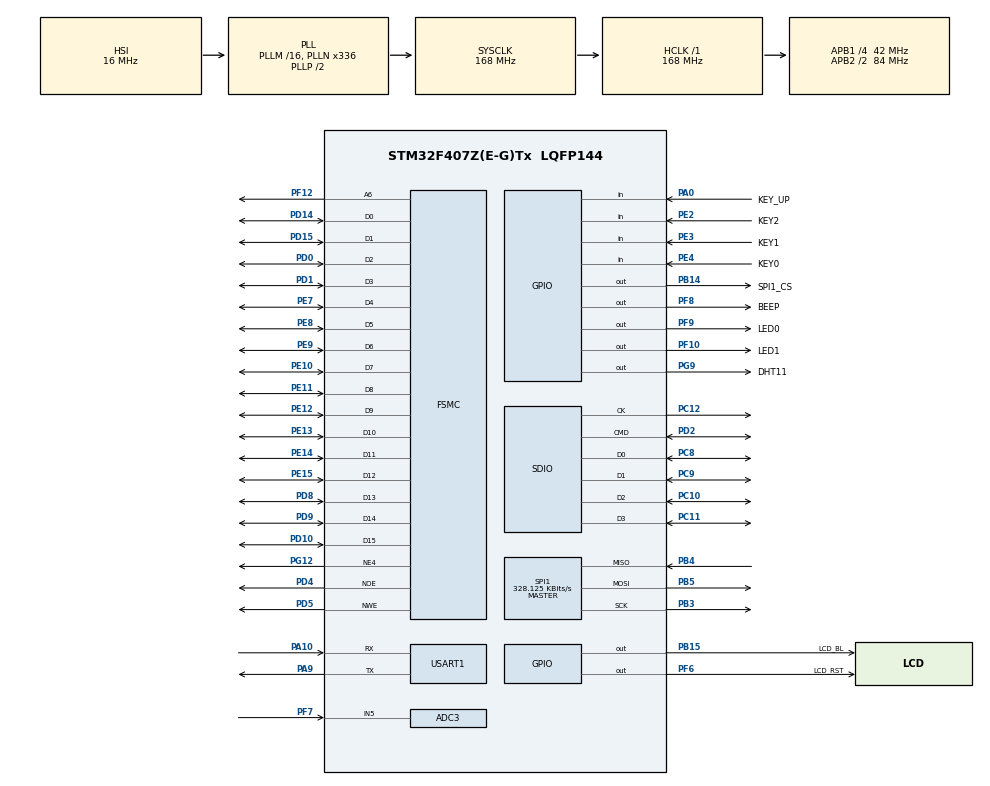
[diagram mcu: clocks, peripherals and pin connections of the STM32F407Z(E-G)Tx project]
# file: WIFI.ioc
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ADC3.Channel-6\#ChannelRegularConversion=ADC_CHANNEL_5
ADC3.NbrOfConversionFlag=1
ADC3.Rank-6\#ChannelRegularConversion=1
ADC3.SamplingTime-6\#ChannelRegularConversion=ADC_SAMPLETIME_3CYCLES
Dma.Request0=SDIO_RX
Dma.Request1=SDIO_TX
Dma.SDIO_RX.0.Direction=DMA_PERIPH_TO_MEMORY
Dma.SDIO_RX.0.FIFOMode=DMA_FIFOMODE_ENABLE
Dma.SDIO_RX.0.FIFOThreshold=DMA_FIFO_THRESHOLD_FULL
Dma.SDIO_RX.0.Instance=DMA2_Stream3
Dma.SDIO_RX.0.MemBurst=DMA_MBURST_INC4
Dma.SDIO_RX.0.MemDataAlignment=DMA_MDATAALIGN_WORD
Dma.SDIO_RX.0.MemInc=DMA_MINC_ENABLE
Dma.SDIO_RX.0.Mode=DMA_PFCTRL
Dma.SDIO_RX.0.PeriphBurst=DMA_PBURST_INC4
Dma.SDIO_RX.0.PeriphDataAlignment=DMA_PDATAALIGN_WORD
Dma.SDIO_RX.0.PeriphInc=DMA_PINC_DISABLE
Dma.SDIO_RX.0.Priority=DMA_PRIORITY_HIGH
Dma.SDIO_TX.1.Direction=DMA_MEMORY_TO_PERIPH
Dma.SDIO_TX.1.FIFOMode=DMA_FIFOMODE_ENABLE
Dma.SDIO_TX.1.FIFOThreshold=DMA_FIFO_THRESHOLD_FULL
Dma.SDIO_TX.1.Instance=DMA2_Stream6
Dma.SDIO_TX.1.MemBurst=DMA_MBURST_INC4
Dma.SDIO_TX.1.MemDataAlignment=DMA_MDATAALIGN_WORD
Dma.SDIO_TX.1.MemInc=DMA_MINC_ENABLE
Dma.SDIO_TX.1.Mode=DMA_PFCTRL
Dma.SDIO_TX.1.PeriphBurst=DMA_PBURST_INC4
Dma.SDIO_TX.1.PeriphDataAlignment=DMA_PDATAALIGN_WORD
Dma.SDIO_TX.1.PeriphInc=DMA_PINC_DISABLE
Dma.SDIO_TX.1.Priority=DMA_PRIORITY_HIGH
FATFS.USE_DMA_CODE_SD=1
FATFS._CODE_PAGE=936
FATFS._USE_LFN=2
FSMC.AddressSetupTime1=8
FSMC.BusTurnAroundDuration1=0
FSMC.DataSetupTime1=15
FSMC.ExtendedDataSetupTime1=15
FSMC.ExtendedMode1=FSMC_EXTENDED_MODE_ENABLE
Mcu.Family=STM32F4
Mcu.Name=STM32F407Z(E-G)Tx
Mcu.Package=LQFP144
NVIC.DMA2_Stream3_IRQn=true\:1\:0\:true\:false\:true\:false\:true\:true
NVIC.DMA2_Stream6_IRQn=true\:1\:0\:true\:false\:true\:false\:true\:true
NVIC.PriorityGroup=NVIC_PRIORITYGROUP_4
NVIC.SDIO_IRQn=true\:1\:0\:true\:false\:true\:true\:true\:true
NVIC.USART1_IRQn=true\:4\:0\:true\:false\:true\:true\:true\:true
PA0-WKUP.GPIO_Label=KEY_UP
PA0-WKUP.GPIO_PuPd=GPIO_PULLDOWN
PA0-WKUP.Signal=GPIO_Input
PA10.Mode=Asynchronous
PA10.Signal=USART1_RX
PA13.Mode=Serial_Wire
PA13.Signal=SYS_JTMS-SWDIO
PA14.Mode=Serial_Wire
PA14.Signal=SYS_JTCK-SWCLK
PA9.Mode=Asynchronous
PA9.Signal=USART1_TX
PB14.GPIO_Label=SPI1_CS
PB14.GPIO_ModeDefaultOutputPP=GPIO_MODE_OUTPUT_PP
PB14.GPIO_Speed=GPIO_SPEED_FREQ_HIGH
PB14.PinState=GPIO_PIN_SET
PB14.Signal=GPIO_Output
PB15.GPIO_Label=LCD_BL
PB15.GPIO_Speed=GPIO_SPEED_FREQ_VERY_HIGH
PB15.PinState=GPIO_PIN_SET
PB15.Signal=GPIO_Output
PB3.Mode=Full_Duplex_Master
PB3.Signal=SPI1_SCK
PB4.Mode=Full_Duplex_Master
PB4.Signal=SPI1_MISO
PB5.Mode=Full_Duplex_Master
PB5.Signal=SPI1_MOSI
PC10.Mode=SD_4_bits_Wide_bus
PC10.Signal=SDIO_D2
PC11.Mode=SD_4_bits_Wide_bus
PC11.Signal=SDIO_D3
PC12.Mode=SD_4_bits_Wide_bus
PC12.Signal=SDIO_CK
PC8.Mode=SD_4_bits_Wide_bus
PC8.Signal=SDIO_D0
PC9.Mode=SD_4_bits_Wide_bus
PC9.Signal=SDIO_D1
PD0.GPIO_PuPd=GPIO_NOPULL
PD0.Signal=FSMC_D2_DA2
PD1.GPIO_PuPd=GPIO_NOPULL
PD1.Signal=FSMC_D3_DA3
PD10.GPIO_PuPd=GPIO_NOPULL
PD10.Signal=FSMC_D15_DA15
PD14.GPIO_PuPd=GPIO_NOPULL
PD14.Signal=FSMC_D0_DA0
PD15.GPIO_PuPd=GPIO_NOPULL
PD15.Signal=FSMC_D1_DA1
PD2.Mode=SD_4_bits_Wide_bus
PD2.Signal=SDIO_CMD
PD4.GPIO_PuPd=GPIO_NOPULL
PD4.Signal=FSMC_NOE
PD5.GPIO_PuPd=GPIO_NOPULL
PD5.Signal=FSMC_NWE
PD8.GPIO_PuPd=GPIO_NOPULL
PD8.Signal=FSMC_D13_DA13
PD9.GPIO_PuPd=GPIO_NOPULL
PD9.Signal=FSMC_D14_DA14
PE10.GPIO_PuPd=GPIO_NOPULL
PE10.Signal=FSMC_D7_DA7
PE11.GPIO_PuPd=GPIO_NOPULL
PE11.Signal=FSMC_D8_DA8
PE12.GPIO_PuPd=GPIO_NOPULL
PE12.Signal=FSMC_D9_DA9
PE13.GPIO_PuPd=GPIO_NOPULL
PE13.Signal=FSMC_D10_DA10
PE14.GPIO_PuPd=GPIO_NOPULL
PE14.Signal=FSMC_D11_DA11
PE15.GPIO_PuPd=GPIO_NOPULL
PE15.Signal=FSMC_D12_DA12
PE2.GPIO_Label=KEY2
PE2.GPIO_PuPd=GPIO_PULLUP
PE2.Signal=GPIO_Input
PE3.GPIO_Label=KEY1
PE3.GPIO_PuPd=GPIO_PULLUP
PE3.Signal=GPIO_Input
PE4.GPIO_Label=KEY0
PE4.GPIO_PuPd=GPIO_PULLUP
PE4.Signal=GPIO_Input
PE7.GPIO_PuPd=GPIO_NOPULL
PE7.Signal=FSMC_D4_DA4
PE8.GPIO_PuPd=GPIO_NOPULL
PE8.Signal=FSMC_D5_DA5
PE9.GPIO_PuPd=GPIO_NOPULL
PE9.Signal=FSMC_D6_DA6
PF10.GPIO_Label=LED1
PF10.GPIO_PuPd=GPIO_PULLUP
PF10.GPIO_Speed=GPIO_SPEED_FREQ_MEDIUM
PF10.Signal=GPIO_Output
PF12.GPIO_PuPd=GPIO_NOPULL
PF12.Signal=FSMC_A6
PF6.GPIO_Label=LCD_RST
PF6.GPIO_Speed=GPIO_SPEED_FREQ_VERY_HIGH
PF6.Signal=GPIO_Output
PF7.Mode=IN5
PF7.Signal=ADC3_IN5
PF8.GPIO_Label=BEEP
PF8.GPIO_PuPd=GPIO_PULLUP
PF8.GPIO_Speed=GPIO_SPEED_FREQ_HIGH
PF8.PinState=GPIO_PIN_RESET
PF8.Signal=GPIO_Output
PF9.GPIO_Label=LED0
PF9.GPIO_PuPd=GPIO_PULLUP
PF9.GPIO_Speed=GPIO_SPEED_FREQ_MEDIUM
PF9.Signal=GPIO_Output
PG12.GPIO_PuPd=GPIO_NOPULL
PG12.Mode=NorPsramChipSelect4_1
PG12.Signal=FSMC_NE4
PG9.GPIO_Label=DHT11
PG9.GPIO_PuPd=GPIO_PULLUP
PG9.GPIO_Speed=GPIO_SPEED_FREQ_HIGH
PG9.PinState=GPIO_PIN_SET
PG9.Signal=GPIO_Output
ProjectManager.HeapSize=0x200
ProjectManager.StackSize=0x400
ProjectManager.TargetToolchain=CMake
RCC.48MHZClocksFreq_Value=48000000
RCC.AHBFreq_Value=168000000
RCC.APB1CLKDivider=RCC_HCLK_DIV4
RCC.APB1Freq_Value=42000000
RCC.APB1TimFreq_Value=84000000
RCC.APB2CLKDivider=RCC_HCLK_DIV2
RCC.APB2Freq_Value=84000000
RCC.APB2TimFreq_Value=168000000
RCC.CortexFreq_Value=168000000
RCC.HCLKFreq_Value=168000000
RCC.HSE_VALUE=25000000
RCC.HSI_VALUE=16000000
RCC.PLLN=336
RCC.PLLQ=7
RCC.RCC_RTC_Clock_Source=RCC_RTCCLKSOURCE_LSI
RCC.RCC_RTC_Clock_SourceVirtual=RCC_RTCCLKSOURCE_LSE
RCC.SYSCLKFreq_VALUE=168000000
RCC.SYSCLKSource=RCC_SYSCLKSOURCE_PLLCLK
RCC.VCOOutputFreq_Value=336000000
SH.FSMC_A6.0=FSMC_A6,A6_1
SH.FSMC_D0_DA0.0=FSMC_D0,16b-d1
SH.FSMC_D10_DA10.0=FSMC_D10,16b-d1
SH.FSMC_D11_DA11.0=FSMC_D11,16b-d1
SH.FSMC_D12_DA12.0=FSMC_D12,16b-d1
SH.FSMC_D13_DA13.0=FSMC_D13,16b-d1
SH.FSMC_D14_DA14.0=FSMC_D14,16b-d1
SH.FSMC_D15_DA15.0=FSMC_D15,16b-d1
SH.FSMC_D1_DA1.0=FSMC_D1,16b-d1
SH.FSMC_D2_DA2.0=FSMC_D2,16b-d1
SH.FSMC_D3_DA3.0=FSMC_D3,16b-d1
SH.FSMC_D4_DA4.0=FSMC_D4,16b-d1
SH.FSMC_D5_DA5.0=FSMC_D5,16b-d1
SH.FSMC_D6_DA6.0=FSMC_D6,16b-d1
SH.FSMC_D7_DA7.0=FSMC_D7,16b-d1
SH.FSMC_D8_DA8.0=FSMC_D8,16b-d1
SH.FSMC_D9_DA9.0=FSMC_D9,16b-d1
SH.FSMC_NOE.0=FSMC_NOE,Lcd1
SH.FSMC_NWE.0=FSMC_NWE,Lcd1
SPI1.BaudRatePrescaler=SPI_BAUDRATEPRESCALER_256
SPI1.CLKPhase=SPI_PHASE_1EDGE
SPI1.CLKPolarity=SPI_POLARITY_LOW
SPI1.CalculateBaudRate=328.125 KBits/s
SPI1.Direction=SPI_DIRECTION_2LINES
SPI1.Mode=SPI_MODE_MASTER
SPI1.VirtualType=VM_MASTER
TIM2.AutoReloadPreload=TIM_AUTORELOAD_PRELOAD_ENABLE
TIM2.Prescaler=83
USART1.VirtualMode=VM_ASYNC
VP_FATFS_VS_SDIO.Mode=SDIO
VP_TIM2_VS_ClockSourceINT.Mode=Internal
board=custom

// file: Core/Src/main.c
/* USER CODE BEGIN Header */
/* USER CODE END Header */
#include "main.h"
#include "fatfs.h"

/* USER CODE BEGIN Includes */
#include "stdio.h"
#include "string.h"
#include "../../Library/led/led.h"
#include "../../Library/key/key.h"
#include "../../Library/beep/beep.h"
#include "../../Library/delay/delay.h"
#include "../../Library/tftlcd/tftlcd.h"
#include "../../Library/DHT11/dht11.h"
#include "../../Library/Light_Sensor/light_sensor.h"
#include "../../Library/mpu6050/MPU6050.h"
/* USER CODE END Includes */

ADC_HandleTypeDef hadc3;

SD_HandleTypeDef hsd;
DMA_HandleTypeDef hdma_sdio_rx;
DMA_HandleTypeDef hdma_sdio_tx;

SPI_HandleTypeDef hspi1;

TIM_HandleTypeDef htim2;

UART_HandleTypeDef huart1;

SRAM_HandleTypeDef hsram1;

/* USER CODE BEGIN PV */
static uint32_t g_uart_test_count = 0U;
static uint8_t g_mpu_ready = 0U;
static uint8_t g_mpu_dmp_ready = 0U;
static delay_nb_timer_t g_sensor_refresh_timer;
static char g_dht_temp_text[24] = "";
static char g_dht_humi_text[24] = "";
static char g_light_adc_text[24] = "";
static char g_light_volt_text[24] = "";
static char g_light_level_text[24] = "";
static char g_ax_text[16] = "";
static char g_ay_text[16] = "";
static char g_az_text[16] = "";
static char g_gx_text[16] = "";
static char g_gy_text[16] = "";
static char g_gz_text[16] = "";
static char g_mpu_temp_text[24] = "";
static char g_pitch_text[24] = "";
static char g_roll_text[24] = "";
static char g_yaw_text[24] = "";
static char g_status_left_text[32] = "";
static char g_status_right_text[16] = "";
/* USER CODE END PV */

void SystemClock_Config(void);
static void MX_GPIO_Init(void);
static void MX_DMA_Init(void);
static void MX_FSMC_Init(void);
static void MX_SPI1_Init(void);
static void MX_USART1_UART_Init(void);
static void MX_ADC3_Init(void);
static void MX_SDIO_SD_Init(void);
static void MX_TIM2_Init(void);
/* USER CODE BEGIN PFP */
static void LCD_Test_ShowWelcome(void);
static void LCD_Test_Run(void);
static void LCD_UpdateValueLine(uint16_t x, uint16_t y, uint16_t width, char *cache, const char *text, uint16_t color);
/* USER CODE END PFP */

/* USER CODE BEGIN 0 */
static void LCD_UpdateValueLine(uint16_t x, uint16_t y, uint16_t width, char *cache, const char *text, uint16_t color)
{
  char padded_text[24];
  size_t max_chars = 0U;
  size_t text_len = 0U;

  if ((cache == NULL) || (text == NULL))
  {
    return;
  }

  max_chars = width / 8U;
  if (max_chars == 0U)
  {
    max_chars = 1U;
  }
  if (max_chars > (sizeof(padded_text) - 1U))
  {
    max_chars = sizeof(padded_text) - 1U;
  }

  memset(padded_text, ' ', max_chars);
  padded_text[max_chars] = '\0';
  text_len = strlen(text);
  if (text_len > max_chars)
  {
    text_len = max_chars;
  }
  memcpy(padded_text, text, text_len);

  if (strcmp(cache, padded_text) == 0)
  {
    return;
  }

  FRONT_COLOR = color;
  LCD_ShowString(x, y, width, 20U, 16U, (uint8_t *)padded_text);
  strncpy(cache, padded_text, 23U);
  cache[23] = '\0';
}

static void LCD_Test_ShowWelcome(void)
{
  BACK_COLOR = WHITE;
  FRONT_COLOR = BLACK;
  LCD_Clear(WHITE);

  LCD_Fill(0U, 0U, 319U, 34U, BLUE);
  FRONT_COLOR = WHITE;
  LCD_ShowString(8U, 8U, 180U, 24U, 16U, (uint8_t *)"Sensor Dashboard");
  LCD_ShowString(220U, 8U, 90U, 24U, 16U, (uint8_t *)"500ms");

  FRONT_COLOR = BLACK;
  LCD_DrawRectangle(6U, 42U, 313U, 110U);
  LCD_DrawRectangle(6U, 118U, 313U, 196U);
  LCD_DrawRectangle(6U, 204U, 313U, 332U);
  LCD_DrawRectangle(6U, 340U, 313U, 438U);
  LCD_DrawRectangle(6U, 446U, 313U, 474U);

  FRONT_COLOR = BLUE;
  LCD_ShowString(14U, 48U, 120U, 24U, 16U, (uint8_t *)"DHT11");
  LCD_ShowString(14U, 124U, 120U, 24U, 16U, (uint8_t *)"Light Sensor");
  LCD_ShowString(14U, 210U, 150U, 24U, 16U, (uint8_t *)"MPU6050 Raw");
  LCD_ShowString(14U, 346U, 150U, 24U, 16U, (uint8_t *)"MPU6050 DMP");
  LCD_ShowString(14U, 452U, 80U, 20U, 16U, (uint8_t *)"Status");

  FRONT_COLOR = BLACK;
  LCD_ShowString(14U, 72U, 100U, 20U, 16U, (uint8_t *)"Temp:");
  LCD_ShowString(14U, 92U, 100U, 20U, 16U, (uint8_t *)"Humi:");

  LCD_ShowString(14U, 148U, 100U, 20U, 16U, (uint8_t *)"ADC:");
  LCD_ShowString(14U, 168U, 100U, 20U, 16U, (uint8_t *)"Volt:");
  LCD_ShowString(168U, 168U, 80U, 20U, 16U, (uint8_t *)"Level:");

  LCD_ShowString(14U, 236U, 40U, 20U, 16U, (uint8_t *)"AX:");
  LCD_ShowString(110U, 236U, 40U, 20U, 16U, (uint8_t *)"AY:");
  LCD_ShowString(206U, 236U, 40U, 20U, 16U, (uint8_t *)"AZ:");
  LCD_ShowString(14U, 264U, 40U, 20U, 16U, (uint8_t *)"GX:");
  LCD_ShowString(110U, 264U, 40U, 20U, 16U, (uint8_t *)"GY:");
  LCD_ShowString(206U, 264U, 40U, 20U, 16U, (uint8_t *)"GZ:");
  LCD_ShowString(14U, 292U, 60U, 20U, 16U, (uint8_t *)"Temp:");

  LCD_ShowString(14U, 372U, 60U, 20U, 16U, (uint8_t *)"Pitch:");
  LCD_ShowString(14U, 396U, 60U, 20U, 16U, (uint8_t *)"Roll:");
  LCD_ShowString(14U, 420U, 60U, 20U, 16U, (uint8_t *)"Yaw:");
}

static void LCD_Test_Run(void)
{
  char line[64];
  DHT11_Data_t dht11_sample;
  uint16_t light_adc = 0U;
  float light_voltage = 0.0f;
  LightLevel_t light_level = LIGHT_LEVEL_DARK;
  short ax = 0;
  short ay = 0;
  short az = 0;
  short gx = 0;
  short gy = 0;
  short gz = 0;
  float pitch = 0.0f;
  float roll = 0.0f;
  float yaw = 0.0f;

  BACK_COLOR = WHITE;
  if (DHT11_ReadData(&dht11_sample) == 0U)
  {
    snprintf(line, sizeof(line), "%u.%u C", (unsigned int)dht11_sample.temp_int, (unsigned int)dht11_sample.temp_dec);
    LCD_UpdateValueLine(120U, 72U, 180U, g_dht_temp_text, line, BLACK);
    snprintf(line, sizeof(line), "%u.%u %%RH", (unsigned int)dht11_sample.humi_int, (unsigned int)dht11_sample.humi_dec);
    LCD_UpdateValueLine(120U, 92U, 180U, g_dht_humi_text, line, BLACK);
  }
  else
  {
    LCD_UpdateValueLine(120U, 72U, 180U, g_dht_temp_text, "Read failed", RED);
    LCD_UpdateValueLine(120U, 92U, 180U, g_dht_humi_text, "--", RED);
  }

  light_adc = LightSensor_ReadADCAverage(3U);
  light_voltage = LightSensor_ConvertToVoltage(light_adc);
  light_level = LightSensor_GetLevelByADC(light_adc);
  snprintf(line, sizeof(line), "%u", (unsigned int)light_adc);
  LCD_UpdateValueLine(80U, 148U, 80U, g_light_adc_text, line, BLACK);
  snprintf(line, sizeof(line), "%.3f V", light_voltage);
  LCD_UpdateValueLine(80U, 168U, 78U, g_light_volt_text, line, BLACK);
  LCD_UpdateValueLine(220U, 168U, 82U, g_light_level_text, LightSensor_LevelToString(light_level), BLACK);

  if ((g_mpu_ready != 0U) &&
      (MPU_Get_Accelerometer(&ax, &ay, &az) == 0U) &&
      (MPU_Get_Gyroscope(&gx, &gy, &gz) == 0U))
  {
    snprintf(line, sizeof(line), "%d", ax);
    LCD_UpdateValueLine(42U, 236U, 56U, g_ax_text, line, BLACK);
    snprintf(line, sizeof(line), "%d", ay);
    LCD_UpdateValueLine(138U, 236U, 56U, g_ay_text, line, BLACK);
    snprintf(line, sizeof(line), "%d", az);
    LCD_UpdateValueLine(234U, 236U, 72U, g_az_text, line, BLACK);
    snprintf(line, sizeof(line), "%d", gx);
    LCD_UpdateValueLine(42U, 264U, 56U, g_gx_text, line, BLACK);
    snprintf(line, sizeof(line), "%d", gy);
    LCD_UpdateValueLine(138U, 264U, 56U, g_gy_text, line, BLACK);
    snprintf(line, sizeof(line), "%d", gz);
    LCD_UpdateValueLine(234U, 264U, 72U, g_gz_text, line, BLACK);
    snprintf(line, sizeof(line), "%.2f C", ((float)MPU_Get_Temperature()) / 100.0f);
    LCD_UpdateValueLine(78U, 292U, 90U, g_mpu_temp_text, line, BLACK);
  }
  else
  {
    LCD_UpdateValueLine(78U, 292U, 90U, g_mpu_temp_text, "Raw failed", RED);
  }

  if ((g_mpu_dmp_ready != 0U) && (mpu_dmp_get_data(&pitch, &roll, &yaw) == 0U))
  {
    snprintf(line, sizeof(line), "%.2f deg", pitch);
    LCD_UpdateValueLine(78U, 372U, 130U, g_pitch_text, line, BLACK);
    snprintf(line, sizeof(line), "%.2f deg", roll);
    LCD_UpdateValueLine(78U, 396U, 130U, g_roll_text, line, BLACK);
    snprintf(line, sizeof(line), "%.2f deg", yaw);
    LCD_UpdateValueLine(78U, 420U, 130U, g_yaw_text, line, BLACK);
  }
  else
  {
    if (g_pitch_text[0] == '\0')
    {
      LCD_UpdateValueLine(78U, 372U, 130U, g_pitch_text, "--", RED);
    }
    if (g_roll_text[0] == '\0')
    {
      LCD_UpdateValueLine(78U, 396U, 130U, g_roll_text, "--", RED);
    }
    if (g_yaw_text[0] == '\0')
    {
      LCD_UpdateValueLine(78U, 420U, 130U, g_yaw_text, "--", RED);
    }
  }

  snprintf(line, sizeof(line), "Tick:%lu  Cnt:%lu", HAL_GetTick(), g_uart_test_count);
  LCD_UpdateValueLine(70U, 452U, 170U, g_status_left_text, line, BLACK);
  snprintf(line, sizeof(line), "M%u D%u", (unsigned int)g_mpu_ready, (unsigned int)g_mpu_dmp_ready);
  LCD_UpdateValueLine(244U, 452U, 60U, g_status_right_text, line, BLACK);
}
/* USER CODE END 0 */

int main(void)
{

  /* MCU Configuration--------------------------------------------------------*/

  /* Reset of all peripherals, Initializes the Flash interface and the Systick. */
  HAL_Init();

  /* Configure the system clock */
  SystemClock_Config();

  /* Initialize all configured peripherals */
  MX_GPIO_Init();
  MX_DMA_Init();
  MX_FSMC_Init();
  MX_SPI1_Init();
  MX_USART1_UART_Init();
  MX_ADC3_Init();
  MX_SDIO_SD_Init();
  MX_FATFS_Init();
  MX_TIM2_Init();
  /* USER CODE BEGIN 2 */
  LED_Init();
  Key_Init();
  BEEP_Init();
  delay_init();
  delay_nb_init();
  TFTLCD_Init();
  DHT11_Init();
  LightSensor_Init();
  g_mpu_ready = (MPU_Init() == 0U) ? 1U : 0U;
  g_mpu_dmp_ready = ((g_mpu_ready != 0U) && (mpu_dmp_init() == 0U)) ? 1U : 0U;
  LCD_Test_ShowWelcome();
  LCD_Test_Run();
  delay_nb_start_ms(&g_sensor_refresh_timer, 500U);

  printf("\r\n===== Sensor Dashboard =====\r\n");
  printf("Single page refresh interval: 500 ms\r\n");
  printf("MPU base init = %u, DMP init = %u\r\n", (unsigned int)g_mpu_ready, (unsigned int)g_mpu_dmp_ready);
  printf("=============================\r\n");
  /* USER CODE END 2 */

  /* Infinite loop */
  /* USER CODE BEGIN WHILE */
  while (1)
  {
    if (delay_nb_is_expired(&g_sensor_refresh_timer) == 1U)
    {
      g_uart_test_count++;
      LED_Toggle(LED0);
      LCD_Test_Run();
      delay_nb_start_ms(&g_sensor_refresh_timer, 500U);
    }
    /* USER CODE END WHILE */

  }
}

void SystemClock_Config(void)
{
  RCC_OscInitTypeDef RCC_OscInitStruct = {0};
  RCC_ClkInitTypeDef RCC_ClkInitStruct = {0};

  /** Configure the main internal regulator output voltage
  */
  __HAL_RCC_PWR_CLK_ENABLE();
  __HAL_PWR_VOLTAGESCALING_CONFIG(PWR_REGULATOR_VOLTAGE_SCALE1);

  /** Initializes the RCC Oscillators according to the specified parameters
  * in the RCC_OscInitTypeDef structure.
  */
  RCC_OscInitStruct.OscillatorType = RCC_OSCILLATORTYPE_HSI;
  RCC_OscInitStruct.HSIState = RCC_HSI_ON;
  RCC_OscInitStruct.HSICalibrationValue = RCC_HSICALIBRATION_DEFAULT;
  RCC_OscInitStruct.PLL.PLLState = RCC_PLL_ON;
  RCC_OscInitStruct.PLL.PLLSource = RCC_PLLSOURCE_HSI;
  RCC_OscInitStruct.PLL.PLLM = 16;
  RCC_OscInitStruct.PLL.PLLN = 336;
  RCC_OscInitStruct.PLL.PLLP = RCC_PLLP_DIV2;
  RCC_OscInitStruct.PLL.PLLQ = 7;
  if (HAL_RCC_OscConfig(&RCC_OscInitStruct) != HAL_OK)
  {
    Error_Handler();
  }

  /** Initializes the CPU, AHB and APB buses clocks
  */
  RCC_ClkInitStruct.ClockType = RCC_CLOCKTYPE_HCLK|RCC_CLOCKTYPE_SYSCLK
                              |RCC_CLOCKTYPE_PCLK1|RCC_CLOCKTYPE_PCLK2;
  RCC_ClkInitStruct.SYSCLKSource = RCC_SYSCLKSOURCE_PLLCLK;
  RCC_ClkInitStruct.AHBCLKDivider = RCC_SYSCLK_DIV1;
  RCC_ClkInitStruct.APB1CLKDivider = RCC_HCLK_DIV4;
  RCC_ClkInitStruct.APB2CLKDivider = RCC_HCLK_DIV2;

  if (HAL_RCC_ClockConfig(&RCC_ClkInitStruct, FLASH_LATENCY_5) != HAL_OK)
  {
    Error_Handler();
  }
}

static void MX_ADC3_Init(void)
{

  ADC_ChannelConfTypeDef sConfig = {0};

  /** Configure the global features of the ADC (Clock, Resolution, Data Alignment and number of conversion)
  */
  hadc3.Instance = ADC3;
  hadc3.Init.ClockPrescaler = ADC_CLOCK_SYNC_PCLK_DIV4;
  hadc3.Init.Resolution = ADC_RESOLUTION_12B;
  hadc3.Init.ScanConvMode = DISABLE;
  hadc3.Init.ContinuousConvMode = DISABLE;
  hadc3.Init.DiscontinuousConvMode = DISABLE;
  hadc3.Init.ExternalTrigConvEdge = ADC_EXTERNALTRIGCONVEDGE_NONE;
  hadc3.Init.ExternalTrigConv = ADC_SOFTWARE_START;
  hadc3.Init.DataAlign = ADC_DATAALIGN_RIGHT;
  hadc3.Init.NbrOfConversion = 1;
  hadc3.Init.DMAContinuousRequests = DISABLE;
  hadc3.Init.EOCSelection = ADC_EOC_SINGLE_CONV;
  if (HAL_ADC_Init(&hadc3) != HAL_OK)
  {
    Error_Handler();
  }

  /** Configure for the selected ADC regular channel its corresponding rank in the sequencer and its sample time.
  */
  sConfig.Channel = ADC_CHANNEL_5;
  sConfig.Rank = 1;
  sConfig.SamplingTime = ADC_SAMPLETIME_84CYCLES;
  if (HAL_ADC_ConfigChannel(&hadc3, &sConfig) != HAL_OK)
  {
    Error_Handler();
  }

}

static void MX_SDIO_SD_Init(void)
{

  hsd.Instance = SDIO;
  hsd.Init.ClockEdge = SDIO_CLOCK_EDGE_RISING;
  hsd.Init.ClockBypass = SDIO_CLOCK_BYPASS_DISABLE;
  hsd.Init.ClockPowerSave = SDIO_CLOCK_POWER_SAVE_DISABLE;
  hsd.Init.BusWide = SDIO_BUS_WIDE_1B;
  hsd.Init.HardwareFlowControl = SDIO_HARDWARE_FLOW_CONTROL_DISABLE;
  hsd.Init.ClockDiv = 0;

}

static void MX_SPI1_Init(void)
{

  /* SPI1 parameter configuration*/
  hspi1.Instance = SPI1;
  hspi1.Init.Mode = SPI_MODE_MASTER;
  hspi1.Init.Direction = SPI_DIRECTION_2LINES;
  hspi1.Init.DataSize = SPI_DATASIZE_8BIT;
  hspi1.Init.CLKPolarity = SPI_POLARITY_LOW;
  hspi1.Init.CLKPhase = SPI_PHASE_1EDGE;
  hspi1.Init.NSS = SPI_NSS_SOFT;
  hspi1.Init.BaudRatePrescaler = SPI_BAUDRATEPRESCALER_256;
  hspi1.Init.FirstBit = SPI_FIRSTBIT_MSB;
  hspi1.Init.TIMode = SPI_TIMODE_DISABLE;
  hspi1.Init.CRCCalculation = SPI_CRCCALCULATION_DISABLE;
  hspi1.Init.CRCPolynomial = 10;
  if (HAL_SPI_Init(&hspi1) != HAL_OK)
  {
    Error_Handler();
  }

}

static void MX_TIM2_Init(void)
{

  TIM_ClockConfigTypeDef sClockSourceConfig = {0};
  TIM_MasterConfigTypeDef sMasterConfig = {0};

  htim2.Instance = TIM2;
  htim2.Init.Prescaler = 83;
  htim2.Init.CounterMode = TIM_COUNTERMODE_UP;
  htim2.Init.Period = 4294967295;
  htim2.Init.ClockDivision = TIM_CLOCKDIVISION_DIV1;
  htim2.Init.AutoReloadPreload = TIM_AUTORELOAD_PRELOAD_ENABLE;
  if (HAL_TIM_Base_Init(&htim2) != HAL_OK)
  {
    Error_Handler();
  }
  sClockSourceConfig.ClockSource = TIM_CLOCKSOURCE_INTERNAL;
  if (HAL_TIM_ConfigClockSource(&htim2, &sClockSourceConfig) != HAL_OK)
  {
    Error_Handler();
  }
  sMasterConfig.MasterOutputTrigger = TIM_TRGO_RESET;
  sMasterConfig.MasterSlaveMode = TIM_MASTERSLAVEMODE_DISABLE;
  if (HAL_TIMEx_MasterConfigSynchronization(&htim2, &sMasterConfig) != HAL_OK)
  {
    Error_Handler();
  }

}

static void MX_USART1_UART_Init(void)
{

  huart1.Instance = USART1;
  huart1.Init.BaudRate = 115200;
  huart1.Init.WordLength = UART_WORDLENGTH_8B;
  huart1.Init.StopBits = UART_STOPBITS_1;
  huart1.Init.Parity = UART_PARITY_NONE;
  huart1.Init.Mode = UART_MODE_TX_RX;
  huart1.Init.HwFlowCtl = UART_HWCONTROL_NONE;
  huart1.Init.OverSampling = UART_OVERSAMPLING_16;
  if (HAL_UART_Init(&huart1) != HAL_OK)
  {
    Error_Handler();
  }

}

static void MX_DMA_Init(void)
{

  /* DMA controller clock enable */
  __HAL_RCC_DMA2_CLK_ENABLE();

  /* DMA interrupt init */
  /* DMA2_Stream3_IRQn interrupt configuration */
  HAL_NVIC_SetPriority(DMA2_Stream3_IRQn, 1, 0);
  HAL_NVIC_EnableIRQ(DMA2_Stream3_IRQn);
  /* DMA2_Stream6_IRQn interrupt configuration */
  HAL_NVIC_SetPriority(DMA2_Stream6_IRQn, 1, 0);
  HAL_NVIC_EnableIRQ(DMA2_Stream6_IRQn);

}

static void MX_GPIO_Init(void)
{
  GPIO_InitTypeDef GPIO_InitStruct = {0};

  /* GPIO Ports Clock Enable */
  __HAL_RCC_GPIOE_CLK_ENABLE();
  __HAL_RCC_GPIOF_CLK_ENABLE();
  __HAL_RCC_GPIOA_CLK_ENABLE();
  __HAL_RCC_GPIOB_CLK_ENABLE();
  __HAL_RCC_GPIOD_CLK_ENABLE();
  __HAL_RCC_GPIOC_CLK_ENABLE();
  __HAL_RCC_GPIOG_CLK_ENABLE();

  /*Configure GPIO pin Output Level */
  HAL_GPIO_WritePin(GPIOF, LCD_RST_Pin|BEEP_Pin|LED0_Pin|LED1_Pin, GPIO_PIN_RESET);

  /*Configure GPIO pin Output Level */
  HAL_GPIO_WritePin(GPIOB, SPI1_CS_Pin|LCD_BL_Pin, GPIO_PIN_SET);

  /*Configure GPIO pin Output Level */
  HAL_GPIO_WritePin(DHT11_GPIO_Port, DHT11_Pin, GPIO_PIN_SET);

  /*Configure GPIO pins : KEY2_Pin KEY1_Pin KEY0_Pin */
  GPIO_InitStruct.Pin = KEY2_Pin|KEY1_Pin|KEY0_Pin;
  GPIO_InitStruct.Mode = GPIO_MODE_INPUT;
  GPIO_InitStruct.Pull = GPIO_PULLUP;
  HAL_GPIO_Init(GPIOE, &GPIO_InitStruct);

  /*Configure GPIO pin : LCD_RST_Pin */
  GPIO_InitStruct.Pin = LCD_RST_Pin;
  GPIO_InitStruct.Mode = GPIO_MODE_OUTPUT_PP;
  GPIO_InitStruct.Pull = GPIO_NOPULL;
  GPIO_InitStruct.Speed = GPIO_SPEED_FREQ_VERY_HIGH;
  HAL_GPIO_Init(LCD_RST_GPIO_Port, &GPIO_InitStruct);

  /*Configure GPIO pin : BEEP_Pin */
  GPIO_InitStruct.Pin = BEEP_Pin;
  GPIO_InitStruct.Mode = GPIO_MODE_OUTPUT_PP;
  GPIO_InitStruct.Pull = GPIO_PULLUP;
  GPIO_InitStruct.Speed = GPIO_SPEED_FREQ_HIGH;
  HAL_GPIO_Init(BEEP_GPIO_Port, &GPIO_InitStruct);

  /*Configure GPIO pins : LED0_Pin LED1_Pin */
  GPIO_InitStruct.Pin = LED0_Pin|LED1_Pin;
  GPIO_InitStruct.Mode = GPIO_MODE_OUTPUT_PP;
  GPIO_InitStruct.Pull = GPIO_PULLUP;
  GPIO_InitStruct.Speed = GPIO_SPEED_FREQ_MEDIUM;
  HAL_GPIO_Init(GPIOF, &GPIO_InitStruct);

  /*Configure GPIO pin : KEY_UP_Pin */
  GPIO_InitStruct.Pin = KEY_UP_Pin;
  GPIO_InitStruct.Mode = GPIO_MODE_INPUT;
  GPIO_InitStruct.Pull = GPIO_PULLDOWN;
  HAL_GPIO_Init(KEY_UP_GPIO_Port, &GPIO_InitStruct);

  /*Configure GPIO pin : SPI1_CS_Pin */
  GPIO_InitStruct.Pin = SPI1_CS_Pin;
  GPIO_InitStruct.Mode = GPIO_MODE_OUTPUT_PP;
  GPIO_InitStruct.Pull = GPIO_NOPULL;
  GPIO_InitStruct.Speed = GPIO_SPEED_FREQ_HIGH;
  HAL_GPIO_Init(SPI1_CS_GPIO_Port, &GPIO_InitStruct);

  /*Configure GPIO pin : LCD_BL_Pin */
  GPIO_InitStruct.Pin = LCD_BL_Pin;
  GPIO_InitStruct.Mode = GPIO_MODE_OUTPUT_PP;
  GPIO_InitStruct.Pull = GPIO_NOPULL;
  GPIO_InitStruct.Speed = GPIO_SPEED_FREQ_VERY_HIGH;
  HAL_GPIO_Init(LCD_BL_GPIO_Port, &GPIO_InitStruct);

  /*Configure GPIO pin : DHT11_Pin */
  GPIO_InitStruct.Pin = DHT11_Pin;
  GPIO_InitStruct.Mode = GPIO_MODE_OUTPUT_PP;
  GPIO_InitStruct.Pull = GPIO_PULLUP;
  GPIO_InitStruct.Speed = GPIO_SPEED_FREQ_HIGH;
  HAL_GPIO_Init(DHT11_GPIO_Port, &GPIO_InitStruct);

}

/* FSMC initialization function */
static void MX_FSMC_Init(void)
{

  FSMC_NORSRAM_TimingTypeDef Timing = {0};
  FSMC_NORSRAM_TimingTypeDef ExtTiming = {0};

  /** Perform the SRAM1 memory initialization sequence
  */
  hsram1.Instance = FSMC_NORSRAM_DEVICE;
  hsram1.Extended = FSMC_NORSRAM_EXTENDED_DEVICE;
  /* hsram1.Init */
  hsram1.Init.NSBank = FSMC_NORSRAM_BANK4;
  hsram1.Init.DataAddressMux = FSMC_DATA_ADDRESS_MUX_DISABLE;
  hsram1.Init.MemoryType = FSMC_MEMORY_TYPE_SRAM;
  hsram1.Init.MemoryDataWidth = FSMC_NORSRAM_MEM_BUS_WIDTH_16;
  hsram1.Init.BurstAccessMode = FSMC_BURST_ACCESS_MODE_DISABLE;
  hsram1.Init.WaitSignalPolarity = FSMC_WAIT_SIGNAL_POLARITY_LOW;
  hsram1.Init.WrapMode = FSMC_WRAP_MODE_DISABLE;
  hsram1.Init.WaitSignalActive = FSMC_WAIT_TIMING_BEFORE_WS;
  hsram1.Init.WriteOperation = FSMC_WRITE_OPERATION_ENABLE;
  hsram1.Init.WaitSignal = FSMC_WAIT_SIGNAL_DISABLE;
  hsram1.Init.ExtendedMode = FSMC_EXTENDED_MODE_ENABLE;
  hsram1.Init.AsynchronousWait = FSMC_ASYNCHRONOUS_WAIT_DISABLE;
  hsram1.Init.WriteBurst = FSMC_WRITE_BURST_DISABLE;
  hsram1.Init.PageSize = FSMC_PAGE_SIZE_NONE;
  /* Timing */
  Timing.AddressSetupTime = 8;
  Timing.AddressHoldTime = 15;
  Timing.DataSetupTime = 15;
  Timing.BusTurnAroundDuration = 0;
  Timing.CLKDivision = 16;
  Timing.DataLatency = 17;
  Timing.AccessMode = FSMC_ACCESS_MODE_A;
  /* ExtTiming */
  ExtTiming.AddressSetupTime = 15;
  ExtTiming.AddressHoldTime = 15;
  ExtTiming.DataSetupTime = 15;
  ExtTiming.BusTurnAroundDuration = 15;
  ExtTiming.CLKDivision = 16;
  ExtTiming.DataLatency = 17;
  ExtTiming.AccessMode = FSMC_ACCESS_MODE_A;

  if (HAL_SRAM_Init(&hsram1, &Timing, &ExtTiming) != HAL_OK)
  {
    Error_Handler( );
  }

}

void Error_Handler(void)
{
}
